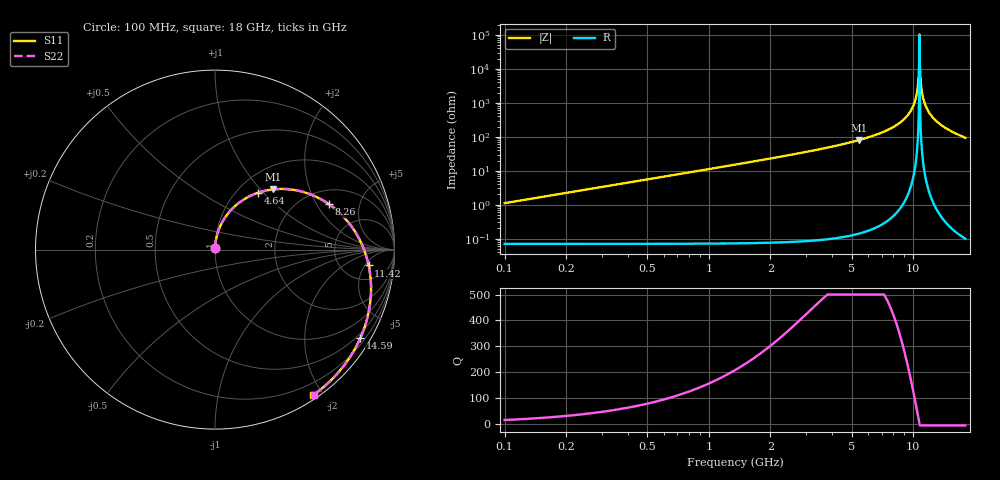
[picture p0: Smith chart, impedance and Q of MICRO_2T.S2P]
! Coilcraft 0906-2 Micro Spring Air Core Inductor
! 16 May 2003
# MHZ S MA R 50
!Freq  MagS11  AngS11  MagS21  AngS21  MagS12  AngS12  MagS22  AngS22
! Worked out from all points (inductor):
!   1791 points, 100 MHz to 18 GHz, reference 50 ohm
!   read as 1/Y11, port 2 shorted: L = 1.76 nH near 180 MHz
!   highest Q = 570 at 5.43 GHz (marker M1), where L = 2.34 nH
!   self-resonance near 10.73 GHz
!   S11 on the Smith chart (normalised r, x): 100 MHz: 1.00, +0.02; 4.64 GHz: 1.24, +0.93; 8.26 GHz: 2.71, +2.57; 11.42 GHz: 9, -6; 14.59 GHz: 0.36, -3.52; 18 GHz: 0.05, -1.88
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100  0.008575 84.6  0.9993 -0.8  0.9993 -0.8  0.008582 84.6
260  0.02223 86.2  0.9991 -2.0  0.9991 -2.0  0.02225 86.2
410  0.03505 85.7  0.9987 -3.2  0.9987 -3.2  0.03508 85.7
630  0.05386 84.3  0.9978 -4.9  0.9978 -4.9  0.0539 84.3
920  0.07866 82.3  0.9962 -7.2  0.9962 -7.2  0.07873 82.3
1310  0.112 79.4  0.993 -10.2  0.993 -10.2  0.1121 79.4
1790  0.1532 75.7  0.9875 -14.0  0.9875 -14.0  0.1533 75.7
3090  0.2648 65.5  0.9636 -24.4  0.9636 -24.4  0.265 65.5
4640  0.3976 52.8  0.9168 -37.1  0.9168 -37.1  0.3979 52.8
5430  0.4642 46.2  0.8849 -43.7  0.8849 -43.7  0.4646 46.2
6070  0.5171 40.8  0.8551 -49.2  0.8551 -49.2  0.5175 40.8
7160  0.6036 31.3  0.7963 -58.6  0.7963 -58.6  0.6041 31.3
8260  0.6843 21.6  0.7281 -68.3  0.7281 -68.3  0.6848 21.6
9050  0.7368 14.7  0.6749 -75.3  0.6749 -75.3  0.7374 14.7
10270  0.8072 4.0  0.589 -86.0  0.589 -86.0  0.8077 4.0
11420  0.8606 -5.9  0.5077 -95.8  0.5077 -95.8  0.8612 -5.9
12040  0.8842 -11.1  0.4653 -101.0  0.4653 -101.0  0.8848 -11.1
13270  0.9212 -21.1  0.387 -111.1  0.387 -111.1  0.9218 -21.1
14590  0.9482 -31.4  0.3149 -121.3  0.3149 -121.3  0.9488 -31.4
15020  0.9547 -34.6  0.2946 -124.6  0.2946 -124.6  0.9553 -34.6
16550  0.9708 -45.8  0.2363 -135.7  0.2363 -135.7  0.9713 -45.8
18000  0.9784 -55.9  0.2023 -145.8  0.2023 -145.8  0.9789 -55.9
